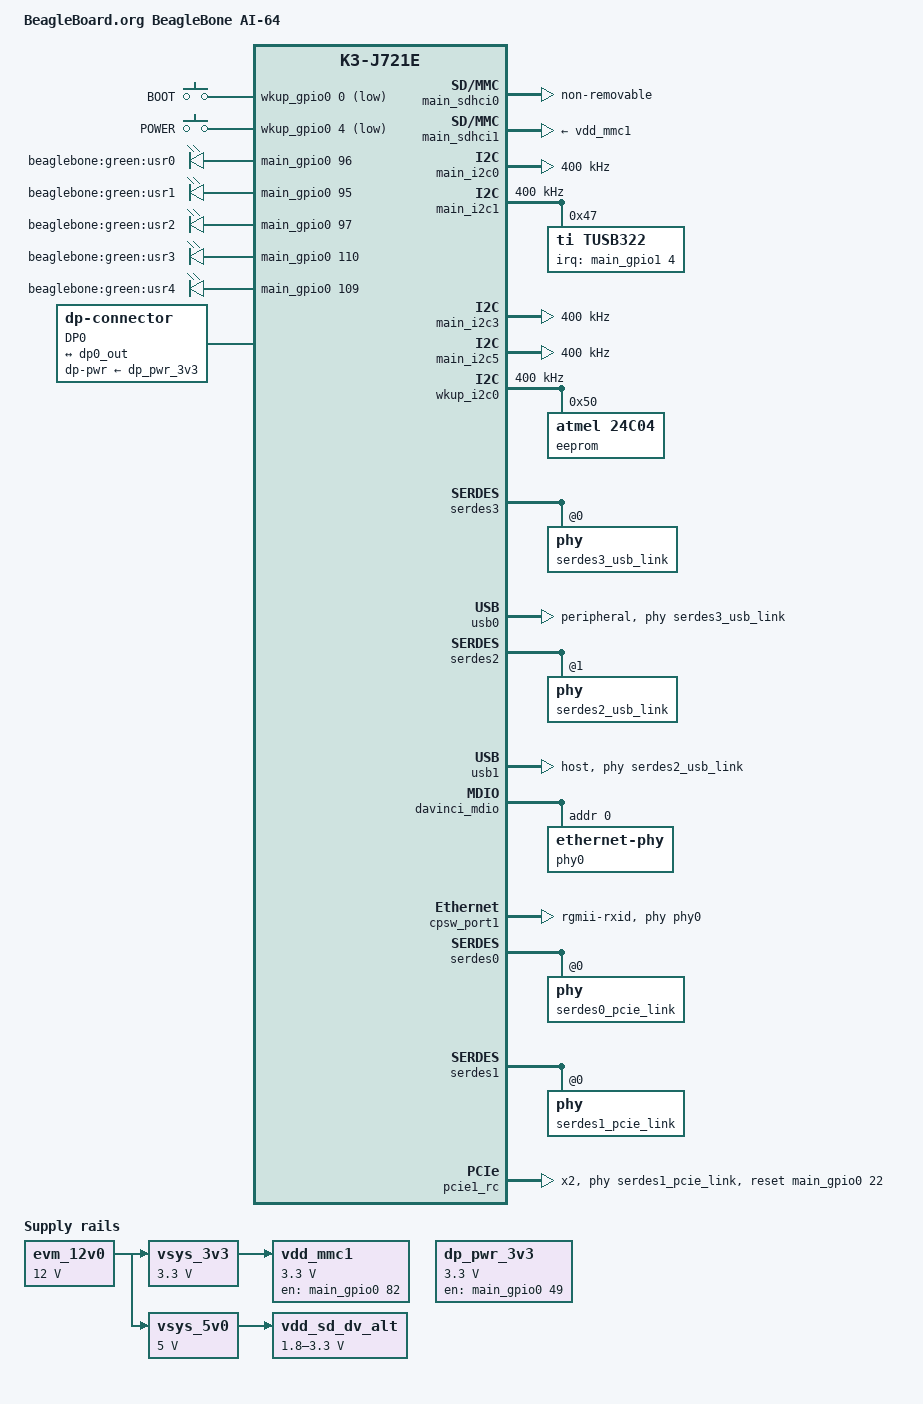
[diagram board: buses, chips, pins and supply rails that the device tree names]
// SPDX-License-Identifier: GPL-2.0
/*
 * https://beagleboard.org/ai-64
 * Copyright (C) 2022 Texas Instruments Incorporated - https://www.ti.com/
 * Copyright (C) 2022 Jason Kridner, BeagleBoard.org Foundation
 * Copyright (C) 2022 Robert Nelson, BeagleBoard.org Foundation
 */

/dts-v1/;

#include "k3-j721e-som-p0.dtsi"
#include "k3-j721e-rtos-memory-map.dtsi"
#include "k3-j721e-beagleboneai64-bone-buses.dtsi"
#include <dt-bindings/gpio/gpio.h>
#include <dt-bindings/input/input.h>
#include <dt-bindings/leds/common.h>
#include <dt-bindings/net/ti-dp83867.h>
#include <dt-bindings/board/k3-j721e-bone-pins.h>

/ {
	compatible = "beagle,j721e-beagleboneai64", "ti,j721e";
	model = "BeagleBoard.org BeagleBone AI-64";

	chosen {
		stdout-path = "serial2:115200n8";
		base_dtb = "k3-j721e-beagleboneai64.dts";
		base_dtb_timestamp = __TIMESTAMP__;
	};

	gpio_keys: gpio-keys {
		compatible = "gpio-keys";
		pinctrl-names = "default";
		pinctrl-0 = <&sw_pwr_pins_default>;

		button-1 {
			label = "BOOT";
			linux,code = <BTN_0>;
			gpios = <&wkup_gpio0 0 GPIO_ACTIVE_LOW>;
		};

		button-2 {
			label = "POWER";
			linux,code = <KEY_POWER>;
			gpios = <&wkup_gpio0 4 GPIO_ACTIVE_LOW>;
		};
	};

	leds {
		compatible = "gpio-leds";
		pinctrl-names = "default";
		pinctrl-0 = <&led_pins_default>;

		led-0 {
			label = "beaglebone:green:usr0";
			gpios = <&main_gpio0 96 GPIO_ACTIVE_HIGH>;
			linux,default-trigger = "heartbeat";
			function = LED_FUNCTION_HEARTBEAT;
		};

		led-1 {
			label = "beaglebone:green:usr1";
			gpios = <&main_gpio0 95 GPIO_ACTIVE_HIGH>;
			linux,default-trigger = "mmc0";
			function = LED_FUNCTION_DISK_ACTIVITY;
		};

		led-2 {
			label = "beaglebone:green:usr2";
			gpios = <&main_gpio0 97 GPIO_ACTIVE_HIGH>;
			linux,default-trigger = "cpu";
			function = LED_FUNCTION_CPU;
		};

		led-3 {
			label = "beaglebone:green:usr3";
			gpios = <&main_gpio0 110 GPIO_ACTIVE_HIGH>;
			linux,default-trigger = "mmc1";
			function = LED_FUNCTION_DISK_ACTIVITY;
		};

		led-4 {
			label = "beaglebone:green:usr4";
			gpios = <&main_gpio0 109 GPIO_ACTIVE_HIGH>;
			linux,default-trigger = "phy0tx";
			function = LED_FUNCTION_WLAN;
			default-state = "off";
		};
	};

	evm_12v0: regulator-0 {
		/* main supply */
		compatible = "regulator-fixed";
		regulator-name = "evm_12v0";
		regulator-min-microvolt = <12000000>;
		regulator-max-microvolt = <12000000>;
		regulator-always-on;
		regulator-boot-on;
	};

	vsys_3v3: regulator-1 {
		/* Output of LMS140 */
		compatible = "regulator-fixed";
		regulator-name = "vsys_3v3";
		regulator-min-microvolt = <3300000>;
		regulator-max-microvolt = <3300000>;
		vin-supply = <&evm_12v0>;
		regulator-always-on;
		regulator-boot-on;
	};

	vsys_5v0: regulator-2 {
		/* Output of LM5140 */
		compatible = "regulator-fixed";
		regulator-name = "vsys_5v0";
		regulator-min-microvolt = <5000000>;
		regulator-max-microvolt = <5000000>;
		vin-supply = <&evm_12v0>;
		regulator-always-on;
		regulator-boot-on;
	};

	vdd_mmc1: regulator-3 {
		compatible = "regulator-fixed";
		pinctrl-names = "default";
		pinctrl-0 = <&sd_pwr_en_pins_default>;
		regulator-name = "vdd_mmc1";
		regulator-min-microvolt = <3300000>;
		regulator-max-microvolt = <3300000>;
		regulator-boot-on;
		enable-active-high;
		vin-supply = <&vsys_3v3>;
		gpio = <&main_gpio0 82 GPIO_ACTIVE_HIGH>;
	};

	vdd_sd_dv_alt: regulator-4 {
		compatible = "regulator-gpio";
		pinctrl-names = "default";
		pinctrl-0 = <&vdd_sd_dv_alt_pins_default>;
		regulator-name = "tlv71033";
		regulator-min-microvolt = <1800000>;
		regulator-max-microvolt = <3300000>;
		regulator-boot-on;
		vin-supply = <&vsys_5v0>;
		gpios = <&main_gpio0 117 GPIO_ACTIVE_HIGH>;
		states = <1800000 0x0>,
			 <3300000 0x1>;
	};

	cpsw9g_virt_mac: main_r5fss_cpsw9g_virt_mac0 {
		compatible = "ti,j721e-cpsw-virt-mac";
		dma-coherent;
		ti,psil-base = <0x4a00>;
		ti,remote-name = "mpu_1_0_ethswitch-device-0";

		dmas = <&main_udmap 0xca00>,
		       <&main_udmap 0xca01>,
		       <&main_udmap 0xca02>,
		       <&main_udmap 0xca03>,
		       <&main_udmap 0xca04>,
		       <&main_udmap 0xca05>,
		       <&main_udmap 0xca06>,
		       <&main_udmap 0xca07>,
		       <&main_udmap 0x4a00>;
		dma-names = "tx0", "tx1", "tx2", "tx3",
			    "tx4", "tx5", "tx6", "tx7",
			    "rx";

		virt_emac_port {
			ti,label = "virt-port";
			/* local-mac-address = [0 0 0 0 0 0]; */
		};
	};

	transceiver1: can-phy@0 {
		status = "disabled";
	};

	transceiver2: can-phy@1 {
		status = "disabled";
	};

	dp_pwr_3v3: regulator-5 {
		compatible = "regulator-fixed";
		pinctrl-names = "default";
		pinctrl-0 = <&dp0_3v3_en_pins_default>;
		regulator-name = "dp-pwr";
		regulator-min-microvolt = <3300000>;
		regulator-max-microvolt = <3300000>;
		gpio = <&main_gpio0 49 GPIO_ACTIVE_HIGH>; /* DP0_PWR_SW_EN */
		enable-active-high;

		/* Always on for now, until dp-connector driver can handle this */
		regulator-always-on;
	};

	dp0: connector {
		compatible = "dp-connector";
		label = "DP0";
		type = "full-size";
		dp-pwr-supply = <&dp_pwr_3v3>;

		port {
			dp_connector_in: endpoint {
				remote-endpoint = <&dp0_out>;
			};
		};
	};
};

&main_pmx0 {
	led_pins_default: led-pins-default {
		pinctrl-single,pins = <
			J721E_IOPAD(0x184, PIN_INPUT, 7) /* (T23) RGMII5_RD0.GPIO0_96 */
			J721E_IOPAD(0x180, PIN_INPUT, 7) /* (R23) RGMII5_RD1.GPIO0_95 */
			J721E_IOPAD(0x188, PIN_INPUT, 7) /* (Y28) RGMII6_TX_CTL.GPIO0_97 */
			J721E_IOPAD(0x1bc, PIN_INPUT, 7) /* (V24) MDIO0_MDC.GPIO0_110 */
			J721E_IOPAD(0x1b8, PIN_INPUT, 7) /* (V26) MDIO0_MDIO.GPIO0_109 */
		>;
	};

	main_mmc1_pins_default: main-mmc1-pins-default {
		pinctrl-single,pins = <
			J721E_IOPAD(0x254, PIN_INPUT, 0) /* (R29) MMC1_CMD */
			J721E_IOPAD(0x250, PIN_INPUT, 0) /* (P25) MMC1_CLK */
			J721E_IOPAD(0x2ac, PIN_INPUT, 0) /* (P25) MMC1_CLKLB */
			J721E_IOPAD(0x24c, PIN_INPUT, 0) /* (R24) MMC1_DAT0 */
			J721E_IOPAD(0x248, PIN_INPUT, 0) /* (P24) MMC1_DAT1 */
			J721E_IOPAD(0x244, PIN_INPUT, 0) /* (R25) MMC1_DAT2 */
			J721E_IOPAD(0x240, PIN_INPUT, 0) /* (R26) MMC1_DAT3 */
			J721E_IOPAD(0x258, PIN_INPUT, 0) /* (P23) MMC1_SDCD */
		>;
	};

	main_uart0_pins_default: main-uart0-pins-default {
		pinctrl-single,pins = <
			J721E_IOPAD(0x1e8, PIN_INPUT, 0) /* (AB2) UART0_RXD */
			J721E_IOPAD(0x1ec, PIN_OUTPUT, 0) /* (AB3) UART0_TXD */
		>;
	};

	sd_pwr_en_pins_default: sd-pwr-en-pins-default {
		pinctrl-single,pins = <
			J721E_IOPAD(0x14c, PIN_INPUT, 7) /* (AA29) PRG0_PRU1_GPO19.GPIO0_82 */
		>;
	};

	vdd_sd_dv_alt_pins_default: vdd-sd-dv-alt-pins-default {
		pinctrl-single,pins = <
			J721E_IOPAD(0x1d8, PIN_INPUT, 7) /* (W4) SPI1_CS1.GPIO0_117 */
		>;
	};

	main_usbss0_pins_default: main-usbss0-pins-default {
		pinctrl-single,pins = <
			J721E_IOPAD(0x210, PIN_INPUT, 7) /* (W3) MCAN1_RX.GPIO1_3 - USBC_DIR */
		>;
	};

	tusb322_pins_default: tusb322-pins-default {
		pinctrl-single,pins = <
			J721E_IOPAD(0x214, PIN_INPUT, 7) /* (V4) MCAN1_TX.GPIO1_4 -- USBC_INT */
		>;
	};

	main_usbss1_pins_default: main-usbss1-pins-default {
		pinctrl-single,pins = <
			J721E_IOPAD(0x290, INPUT_DISABLE, 1) /* (U6) USB0_DRVVBUS.USB1_DRVVBUS */
		>;
	};

	dp0_3v3_en_pins_default:dp0-3v3-en-pins-default {
		pinctrl-single,pins = <
			J721E_IOPAD(0xc8, PIN_INPUT, 7) /* (AE26) PRG0_PRU0_GPO6.GPIO0_49 */
		>;
	};

	dp0_pins_default: dp0-pins-default {
		pinctrl-single,pins = <
			J721E_IOPAD(0x1c4, PIN_INPUT, 5) /* (Y4) SPI0_CS1.DP0_HPD */
		>;
	};

	main_i2c0_pins_default: main-i2c0-pins-default {
		pinctrl-single,pins = <
			J721E_IOPAD(0x220, PIN_INPUT_PULLUP, 0) /* (AC5) I2C0_SCL */
			J721E_IOPAD(0x224, PIN_INPUT_PULLUP, 0) /* (AA5) I2C0_SDA */
		>;
	};

	main_i2c1_pins_default: main-i2c1-pins-default {
		pinctrl-single,pins = <
			J721E_IOPAD(0x228, PIN_INPUT_PULLUP, 0) /* (Y6) I2C1_SCL */
			J721E_IOPAD(0x22c, PIN_INPUT_PULLUP, 0) /* (AA6) I2C1_SDA */
		>;
	};

	main_i2c3_pins_default: main-i2c3-pins-default {
		pinctrl-single,pins = <
			J721E_IOPAD(0x270, PIN_INPUT_PULLUP, 4) /* (T26) MMC2_CLK.I2C3_SCL */
			J721E_IOPAD(0x274, PIN_INPUT_PULLUP, 4) /* (T25) MMC2_CMD.I2C3_SDA */
		>;
	};

	main_i2c5_pins_default: main-i2c5-pins-default {
		pinctrl-single,pins = <
			J721E_IOPAD(0x150, PIN_INPUT_PULLUP, 2) /* (Y26) PRG0_MDIO0_MDIO.I2C5_SCL */
			J721E_IOPAD(0x154, PIN_INPUT_PULLUP, 2) /* (AA27) PRG0_MDIO0_MDC.I2C5_SDA */
		>;
	};

	pcie1_rst_pins_default: pcie1-rst-pins-default {
		pinctrl-single,pins = <
			J721E_IOPAD(0x5c, PIN_INPUT, 7) /* (AG23) PRG1_PRU1_GPO1.GPIO0_22 */
		>;
	};

	ehrpwm0_pins_default: ehrpwm0_pins_default {
		pinctrl-single,pins = <
			J721E_IOPAD(0x164, PIN_OUTPUT, 6) /* (V29) RGMII5_TD2.EHRPWM0_A */
			J721E_IOPAD(0x168, PIN_OUTPUT, 6) /* (V27) RGMII5_TD1.EHRPWM0_B */
		>;
	};

	ehrpwm1_pins_default: ehrpwm1_pins_default {
		pinctrl-single,pins = <
			J721E_IOPAD(0x16c, PIN_OUTPUT, 6) /* (U28) RGMII5_TD0.EHRPWM1_A */
			J721E_IOPAD(0x170, PIN_OUTPUT, 6) /* (U29) RGMII5_TXC.EHRPWM1_B */
		>;
	};

	ehrpwm2_pins_default: ehrpwm2_pins_default {
		pinctrl-single,pins = <
			J721E_IOPAD(0x178, PIN_OUTPUT, 6) /* (U27) RGMII5_RD3.EHRPWM2_A */
			J721E_IOPAD(0x17c, PIN_OUTPUT, 6) /* (U24) RGMII5_RD2.EHRPWM2_B */
		>;
	};

	ehrpwm3_pins_default: ehrpwm3_pins_default {
		pinctrl-single,pins = <
			J721E_IOPAD(0x18c, PIN_OUTPUT, 6) /* (V23) RGMII6_RX_CTL.EHRPWM3_A */
			J721E_IOPAD(0x190, PIN_OUTPUT, 6) /* (W23) RGMII6_TD3.EHRPWM3_B */
		>;
	};
};

&wkup_pmx0 {
	eeprom_wp_pins_default: eeprom-wp-pins-default {
		pinctrl-single,pins = <
			J721E_WKUP_IOPAD(0xc4, PIN_OUTPUT_PULLUP, 7) /* (G24) WKUP_GPIO0_5 */
		>;
	};

	mcu_adc0_pins_default: mcu-adc0-pins-default {
		pinctrl-single,pins = <
			J721E_WKUP_IOPAD(0x130, PIN_INPUT, 0) /* (K25) MCU_ADC0_AIN0 */
			J721E_WKUP_IOPAD(0x134, PIN_INPUT, 0) /* (K26) MCU_ADC0_AIN1 */
			J721E_WKUP_IOPAD(0x138, PIN_INPUT, 0) /* (K28) MCU_ADC0_AIN2 */
			J721E_WKUP_IOPAD(0x13c, PIN_INPUT, 0) /* (L28) MCU_ADC0_AIN3 */
			J721E_WKUP_IOPAD(0x140, PIN_INPUT, 0) /* (K24) MCU_ADC0_AIN4 */
			J721E_WKUP_IOPAD(0x144, PIN_INPUT, 0) /* (K27) MCU_ADC0_AIN5 */ /* TODO: disable? */
			J721E_WKUP_IOPAD(0x148, PIN_INPUT, 0) /* (K29) MCU_ADC0_AIN6 */
		>;
	};

	mcu_adc1_pins_default: mcu-adc1-pins-default {
		pinctrl-single,pins = <
			J721E_WKUP_IOPAD(0x150, PIN_INPUT, 0) /* (N23) MCU_ADC1_AIN0 */
		>;
	};

	mikro_bus_pins_default: mikro-bus-pins-default {
		pinctrl-single,pins = <
			J721E_WKUP_IOPAD(0x108, PIN_INPUT, 7) /* SDAPULLEN (E26) PMIC_POWER_EN0.WKUP_GPIO0_66 */
			J721E_WKUP_IOPAD(0xd4, PIN_INPUT, 7) /* SDA (G26) WKUP_GPIO0_9.MCU_I2C1_SDA */
			J721E_WKUP_IOPAD(0xf4, PIN_INPUT, 7) /* SDA (D25) MCU_I3C0_SDA.WKUP_GPIO0_61 */
			J721E_WKUP_IOPAD(0xd0, PIN_INPUT, 7) /* SCL (G27) WKUP_GPIO0_8.MCU_I2C1_SCL */
			J721E_WKUP_IOPAD(0xf0, PIN_INPUT, 7) /* SCL (D26) MCU_I3C0_SCL.WKUP_GPIO0_60 */

			J721E_WKUP_IOPAD(0xb8, PIN_INPUT, 7) /* MOSI (F28) WKUP_GPIO0_2.MCU_SPI1_D1 */
			J721E_WKUP_IOPAD(0xb4, PIN_INPUT, 7) /* MISO (F25) WKUP_GPIO0_1.MCU_SPI1_D0 */
			J721E_WKUP_IOPAD(0xb0, PIN_INPUT, 7) /* CLK (F26) WKUP_GPIO0_0.MCU_SPI1_CLK */
			J721E_WKUP_IOPAD(0xbc, PIN_INPUT, 7) /* CS (F27) WKUP_GPIO0_3.MCU_SPI1_CS0 */

			J721E_WKUP_IOPAD(0x44, PIN_INPUT, 7) /* RX (G22) MCU_OSPI1_D1.WKUP_GPIO0_33 */
			J721E_WKUP_IOPAD(0x48, PIN_INPUT, 7) /* TX (D23) MCU_OSPI1_D2.WKUP_GPIO0_34 */

			J721E_WKUP_IOPAD(0x4c, PIN_INPUT, 7) /* INT (C23) MCU_OSPI1_D3.WKUP_GPIO0_35 */
			J721E_WKUP_IOPAD(0x54, PIN_INPUT, 7) /* RST (E22) MCU_OSPI1_CSn1.WKUP_GPIO0_37 */
			J721E_WKUP_IOPAD(0xdc, PIN_INPUT, 7) /* PWM (H27) WKUP_GPIO0_11 */
			J721E_WKUP_IOPAD(0xac, PIN_INPUT, 7) /* AN (C29) MCU_MCAN0_RX.WKUP_GPIO0_59 */
		>;
	};

	mcu_cpsw_pins_default: mcu-cpsw-pins-default {
		pinctrl-single,pins = <
			J721E_WKUP_IOPAD(0x84, PIN_INPUT, 0) /* (B24) MCU_RGMII1_RD0 */
			J721E_WKUP_IOPAD(0x80, PIN_INPUT, 0) /* (A24) MCU_RGMII1_RD1 */
			J721E_WKUP_IOPAD(0x7c, PIN_INPUT, 0) /* (D24) MCU_RGMII1_RD2 */
			J721E_WKUP_IOPAD(0x78, PIN_INPUT, 0) /* (A25) MCU_RGMII1_RD3 */
			J721E_WKUP_IOPAD(0x74, PIN_INPUT, 0) /* (C24) MCU_RGMII1_RXC */
			J721E_WKUP_IOPAD(0x5c, PIN_INPUT, 0) /* (C25) MCU_RGMII1_RX_CTL */
			J721E_WKUP_IOPAD(0x6c, PIN_OUTPUT, 0) /* (B25) MCU_RGMII1_TD0 */
			J721E_WKUP_IOPAD(0x68, PIN_OUTPUT, 0) /* (A26) MCU_RGMII1_TD1 */
			J721E_WKUP_IOPAD(0x64, PIN_OUTPUT, 0) /* (A27) MCU_RGMII1_TD2 */
			J721E_WKUP_IOPAD(0x60, PIN_OUTPUT, 0) /* (A28) MCU_RGMII1_TD3 */
			J721E_WKUP_IOPAD(0x70, PIN_OUTPUT, 0) /* (B26) MCU_RGMII1_TXC */
			J721E_WKUP_IOPAD(0x58, PIN_OUTPUT, 0) /* (B27) MCU_RGMII1_TX_CTL */
		>;
	};

	mcu_mdio_pins_default: mcu-mdio1-pins-default {
		pinctrl-single,pins = <
			J721E_WKUP_IOPAD(0x8c, PIN_OUTPUT, 0) /* (F23) MCU_MDIO0_MDC */
			J721E_WKUP_IOPAD(0x88, PIN_INPUT, 0) /* (E23) MCU_MDIO0_MDIO */
		>;
	};

	sw_pwr_pins_default: sw-pwr-pins-default {
		pinctrl-single,pins = <
			J721E_WKUP_IOPAD(0xc0, PIN_INPUT, 7) /* (G25) WKUP_GPIO0_4 */
		>;
	};

	wkup_i2c0_pins_default: wkup-i2c0-pins-default {
		pinctrl-single,pins = <
			J721E_WKUP_IOPAD(0xf8, PIN_INPUT_PULLUP, 0) /* (J25) WKUP_I2C0_SCL */
			J721E_WKUP_IOPAD(0xfc, PIN_INPUT_PULLUP, 0) /* (H24) WKUP_I2C0_SDA */
		>;
	};

	mcu_usbss1_pins_default: mcu-usbss1-pins-default {
		pinctrl-single,pins = <
			J721E_WKUP_IOPAD(0x3c, PIN_OUTPUT_PULLUP, 5) /* (A23) MCU_OSPI1_LBCLKO.WKUP_GPIO0_30 */
		>;
	};
};

&wkup_uart0 {
	/* Wakeup UART is used by TIFS firmware. */
	status = "reserved";
};

&main_uart0 {
	pinctrl-names = "default";
	pinctrl-0 = <&main_uart0_pins_default>;
	/* Shared with ATF on this platform */
	power-domains = <&k3_pds 146 TI_SCI_PD_SHARED>;
};

&main_uart3 {
	/* UART not brought out */
	status = "disabled";
};

&main_uart6 {
	/* UART not brought out */
	status = "disabled";
};

&main_uart7 {
	/* UART not brought out */
	status = "disabled";
};

&main_uart8 {
	/* UART not brought out */
	status = "disabled";
};

&main_uart9 {
	/* UART not brought out */
	status = "disabled";
};

&main_sdhci0 {
	/* eMMC */
	non-removable;
	ti,driver-strength-ohm = <50>;
	disable-wp;
};

&main_sdhci1 {
	/* SD Card */
	vmmc-supply = <&vdd_mmc1>;
	vqmmc-supply = <&vdd_sd_dv_alt>;
	pinctrl-names = "default";
	pinctrl-0 = <&main_mmc1_pins_default>;
	ti,driver-strength-ohm = <50>;
	disable-wp;
};

&main_sdhci2 {
	/* Unused */
	status = "disabled";
};

&main_i2c0 {
	pinctrl-names = "default";
	pinctrl-0 = <&main_i2c0_pins_default>;
	clock-frequency = <400000>;
};

&main_i2c1 {
	pinctrl-names = "default";
	pinctrl-0 = <&main_i2c1_pins_default>;
	clock-frequency = <400000>;

	tusb322@47 {
		compatible = "ti,tusb322";
		reg = <0x47>;
		pinctrl-names = "default";
		pinctrl-0 = <&tusb322_pins_default>;
		interrupt-parent = <&main_gpio1>;
		interrupts = <4 IRQ_TYPE_EDGE_FALLING>;
		interrupt-controller;
		#interrupt-cells = <2>;
	};
};

&main_i2c3 {
	pinctrl-names = "default";
	pinctrl-0 = <&main_i2c3_pins_default>;
	clock-frequency = <400000>;
};

&main_i2c5 {
	pinctrl-names = "default";
	pinctrl-0 = <&main_i2c5_pins_default>;
	clock-frequency = <400000>;
};

bone_i2c_0: &wkup_i2c0 {
	pinctrl-names = "default";
	pinctrl-0 = <&wkup_i2c0_pins_default &eeprom_wp_pins_default>;
	clock-frequency = <400000>;

	eeprom@50 {
		compatible = "atmel,24c04";
		reg = <0x50>;
	};
};

&main_gpio0 {
	status = "okay";
	gpio-line-names =
		"NC",
		"P9_11",
		"P9_13",
		"P8_17",
		"P8_18", /* 0-4 */
		"P8_22",
		"P8_24",
		"P8_34",
		"P8_36",
		"P8_38A", /* 5-9 */
		"P9_23",
		"P8_37B",
		"P9_26B",
		"P9_24B",
		"P8_08", /* 10-14 */
		"P8_07",
		"P8_10",
		"P8_09",
		"P9_42B",
		"NC", /* 15-19 */
		"P8_03",
		"TYPEC_PWR_ST",
		"M2_RSTz",
		"M2_I2C_ALERT#",
		"P8_35A", /* 20-24 */
		"P8_33A",
		"P8_32A",
		"NC",
		"P9_17A",
		"NC", /* 25-29 */
		"P8_21",
		"P8_23",
		"P8_31A",
		"P8_05",
		"P8_06", /* 30-34 */
		"P8_25",
		"M2_W_DISABLE1#",
		"M2_W_DISABLE2#",
		"P9_22A (BOOTMODE1)",
		"P9_21A", /* 35-39 */
		"P9_18A",
		"DSI_I2C_SCL",
		"DSI_I2C_SDA",
		"P9_28B",
		"P9_30B", /* 40-44 */
		"P9_12",
		"P9_27A",
		"P9_15",
		"P8_04 (BOOTMODE2)",
		"VCC_DP_EN", /* 45-49 */
		"P9_33B",
		"P8_26",
		"P9_31B",
		"P9_29B",
		"P9_39B", /* 50-54 */
		"P9_35B",
		"P9_36B",
		"P9_37B",
		"P9_38B",
		"P8_12", /* 55-59 */
		"P8_11 (BOOTMODE7)",
		"P8_15",
		"P8_16",
		"NC",
		"NC", /* 60-64 */
		"P8_43",
		"P8_44",
		"P8_41",
		"P8_42 (BOOTMODE6)",
		"P8_39", /* 65-69 */
		"P8_40",
		"P8_27",
		"P8_28",
		"P8_29",
		"P8_30", /* 70-74 */
		"P8_14",
		"P8_20",
		"P9_20B",
		"P9_19B",
		"P8_45", /* 75-79 */
		"P8_46 (BOOTMODE3)",
		"P9_40B",
		"VDD_SD_EN",
		"CSI_I2C_SCL",
		"CSI_I2C_SDA", /* 80-84 */
		"M2_I2S_SCK",
		"M2_I2S_WS",
		"M2_I2S_IN",
		"P8_19",
		"P8_13", /* 85-89 */
		"P9_21B",
		"P9_22B",
		"M2_I2S_OUT",
		"P9_14",
		"P9_16", /* 90-94 */
		"USR1",
		"USR0",
		"USR2",
		"DSI_GPIO1",
		"FAN_PWM", /* 95-99 */
		"FAN_TACH",
		"CSI1_GPIO1",
		"CSI0_GPIO2",
		"CSI0_GPIO1",
		"P9_25B", /* 100-104 */
		"P8_38B",
		"P8_37A",
		"CSI1_GPIO2",
		"DSI_GPIO2",
		"USR4", /* 105-109 */
		"USR3",
		"P8_33B",
		"DP_HPD",
		"M2_UART_CTSn",
		"M2_UART_RTSn", /* 110-114 */
		"P9_17B",
		"P8_35B",
		"VDD_SD_SEL",
		"P9_26A",
		"P9_24A", /* 115-119 */
		"P9_18B",
		"CONSOLE_RX",
		"CONSOLE_TX",
		"P9_42A",
		"P9_27B", /* 120-124 */
		"M2_UART_RX",
		"M2_UART_TX",
		"P9_25A"; /* 125-127 */
};

&main_gpio1 {
	status = "okay";
	gpio-line-names =
		"P9_41",
		"P9_19A",
		"P9_20A",
		"TYPEC_DIR",
		"TYPEC_INT", /* 0-4 */
		"M2_PCIE_WAKE#",
		"M2_PCIE_CLKREQ#",
		"M2_I2C_SCL",
		"M2_I2C_SDA",
		"TYPEC/CSI1_I2C_SCL", /* 5-9 */
		"TYPEC/CSI1_I2C_SDA",
		"P9_28A",
		"P9_31A",
		"P9_30A",
		"P9_29A", /* 10-14 */
		"uSD_DAT3",
		"uSD_DAT2",
		"uSD_DAT1",
		"uSD_DAT0",
		"uSD_CLK", /* 15-19 */
		"uSD_CMD",
		"uSD_SDCD",
		"NC",
		"M2_SDIO_DAT3",
		"M2_SDIO_DAT2", /* 20-24 */
		"M2_SDIO_DAT1",
		"M2_SDIO_DAT0",
		"M2_SDIO_CLK",
		"M2_SDIO_CMD",
		"USB1_DRVVBUS", /* 25-29 */
		"NC",
		"NC",
		"NC",
		"NC",
		"NC", /* 30-34 */
		"NC",
		"NC"; /* 35-36 */
};

&main_gpio2 {
	status = "disabled";
};

&main_gpio3 {
	status = "disabled";
};

&main_gpio4 {
	status = "disabled";
};

&main_gpio5 {
	status = "disabled";
};

&main_gpio6 {
	status = "disabled";
};

&main_gpio7 {
	status = "disabled";
};

&wkup_gpio0 {
	pinctrl-names = "default";
	pinctrl-0 = <&mcu_adc0_pins_default &mcu_adc1_pins_default &mikro_bus_pins_default>;
	gpio-line-names =
		"MB_CLK/BOOT_BTN",
		"MB_MISO",
		"MB_MOSI",
		"MB_CS",
		"SOC_WAKE", /* 0-4 */
		"EEPROM_WP",
		"SOC_INT2z",
		"H_MCU_INT#",
		"MB_SCLA",
		"MB_SDAA", /* 5-9 */
		"MCU_RGMII_RST#",
		"MB_PWM",
		"MCU_BOOTMODE8",
		"MCU_BOOTMODE9",
		"MCU_BOOTMODE6", /* 10-14 */
		"MCU_BOOTMODE7",
		"NC",
		"NC",
		"NC",
		"NC", /* 15-19 */
		"NC",
		"NC",
		"NC",
		"NC",
		"NC", /* 20-24 */
		"NC",
		"NC",
		"NC",
		"NC",
		"NC", /* 24-29 */
		"USB_HUB_RST",
		"NC",
		"NC",
		"MB_RX",
		"MB_TX", /* 30-34 */
		"MB_INT",
		"NC",
		"MB_RST",
		"MII_TX_CTL",
		"MII_RX_CTL", /* 35-39 */
		"MII_TD3",
		"MII_TD2",
		"MII_TD1",
		"MII_TD0",
		"MII_TXC", /* 40-44 */
		"MII_RXC",
		"MII_RD3",
		"MII_RD2",
		"MII_RD1",
		"MII_RD0", /* 45-49 */
		"MDIO",
		"MDC",
		"MCU_BOOTMODE0",
		"MCU_BOOTMODE1",
		"MCU_BOOTMODE2", /* 50-54 */
		"SYS_MCU_PWRDN",
		"WKUP_UART_RX",
		"WKUP_UART_TX",
		"MII_RST#",
		"MB_AN", /* 55-59 */
		"MB_SCLB",
		"MB_SDAB",
		"WKUP_I2C0_SCL",
		"WKUP_I2C0_SDA",
		"MCU_I2C0_SCL", /* 60-64 */
		"MCU_I2C0_SDA",
		"MB_SDAPULLEN",
		"PMIC_POWER_EN1"; /* 65-67 */
};

&wkup_gpio1 {
	status = "disabled";
};

&usb_serdes_mux {
	idle-states = <1>, <1>; /* USB0 to SERDES3, USB1 to SERDES2 */
};

&serdes_ln_ctrl {
	idle-states = <J721E_SERDES0_LANE0_IP4_UNUSED>, <J721E_SERDES0_LANE1_IP4_UNUSED>, /* TODO: is this right? */
		      <J721E_SERDES1_LANE0_PCIE1_LANE0>, <J721E_SERDES1_LANE1_PCIE1_LANE1>,
		      <J721E_SERDES2_LANE0_IP1_UNUSED>, <J721E_SERDES2_LANE1_USB3_1>, /* TODO: USB3_0 or USB3_1? */
		      <J721E_SERDES3_LANE0_USB3_0_SWAP>, <J721E_SERDES3_LANE1_USB3_0>,
		      <J721E_SERDES4_LANE0_EDP_LANE0>, <J721E_SERDES4_LANE1_EDP_LANE1>,
		      <J721E_SERDES4_LANE2_EDP_LANE2>, <J721E_SERDES4_LANE3_EDP_LANE3>;
};

&serdes_wiz3 {
	typec-dir-gpios = <&main_gpio1 3 GPIO_ACTIVE_LOW>;
	typec-dir-debounce-ms = <700>;	/* TUSB321, tCCB_DEFAULT 133 ms */
};

&serdes3 {
	serdes3_usb_link: phy@0 {
		reg = <0>;
		cdns,num-lanes = <2>;
		#phy-cells = <0>;
		cdns,phy-type = <PHY_TYPE_USB3>;
		resets = <&serdes_wiz3 1>, <&serdes_wiz3 2>;
	};
};

&mhdp {
	pinctrl-names = "default";
	pinctrl-0 = <&dp0_pins_default>;
};

&usbss0 {
	pinctrl-names = "default";
	pinctrl-0 = <&main_usbss0_pins_default>;
	ti,vbus-divider;
};

&usb0 {
	dr_mode = "peripheral";
	maximum-speed = "super-speed";
	phys = <&serdes3_usb_link>;
	phy-names = "cdns3,usb3-phy";
};

&serdes2 {
	serdes2_usb_link: phy@1 {
		reg = <1>;
		cdns,num-lanes = <1>;
		#phy-cells = <0>;
		cdns,phy-type = <PHY_TYPE_USB3>;
		resets = <&serdes_wiz2 2>;
	};
};

&usbss1 {
	pinctrl-names = "default";
	pinctrl-0 = <&main_usbss1_pins_default &mcu_usbss1_pins_default>;
	ti,vbus-divider;
};

&usb1 {
	dr_mode = "host";
	maximum-speed = "super-speed";
	phys = <&serdes2_usb_link>;
	phy-names = "cdns3,usb3-phy";
};

&tscadc0 {
	/* BBB Header: P9.39, P9.40, P9.37, P9.38, P9.33, P9.36, P9.35 */
	adc {
		ti,adc-channels = <0 1 2 3 4 5 6 7>;
	};
};

&tscadc1 {
	/* MCU mikroBUS Header J10.1 - MCU_ADC1_AIN0 */
	adc {
		ti,adc-channels = <0 1 2 3 4 5 6 7>;
	};
};

&mcu_cpsw {
	pinctrl-names = "default";
	pinctrl-0 = <&mcu_cpsw_pins_default>;
};

&davinci_mdio {
	pinctrl-names = "default";
	pinctrl-0 = <&mcu_mdio_pins_default>;

	phy0: ethernet-phy@0 {
		reg = <0>;
		ti,rx-internal-delay = <DP83867_RGMIIDCTL_2_00_NS>;
		ti,fifo-depth = <DP83867_PHYCR_FIFO_DEPTH_4_B_NIB>;
	};
};

&cpsw_port1 {
	phy-mode = "rgmii-rxid";
	phy-handle = <&phy0>;
};

&dss {
	/*
	 * These clock assignments are chosen to enable the following outputs:
	 *
	 * VP0 - DisplayPort SST
	 * VP1 - DPI0
	 * VP2 - DSI
	 * VP3 - DPI1
	 */

	assigned-clocks = <&k3_clks 152 1>,
			  <&k3_clks 152 4>,
			  <&k3_clks 152 9>,
			  <&k3_clks 152 13>;
	assigned-clock-parents = <&k3_clks 152 2>,	/* PLL16_HSDIV0 */
				 <&k3_clks 152 6>,	/* PLL19_HSDIV0 */
				 <&k3_clks 152 11>,	/* PLL18_HSDIV0 */
				 <&k3_clks 152 18>;	/* PLL23_HSDIV0 */
};

&dss_ports {
	port@0 {
		reg = <0>;

		dpi0_out: endpoint {
			remote-endpoint = <&dp0_in>;
		};
	};
};

&dp0_ports {
	#address-cells = <1>;
	#size-cells = <0>;

	port@0 {
		reg = <0>;
		dp0_in: endpoint {
			remote-endpoint = <&dpi0_out>;
		};
	};

	port@4 {
		reg = <4>;
		dp0_out: endpoint {
			remote-endpoint = <&dp_connector_in>;
		};
	};
};

&mcasp0 {
	/* Unused */
	status = "disabled";
};

&mcasp1 {
	/* Unused */
	status = "disabled";
};

&mcasp2 {
	/* Unused */
	status = "disabled";
};

&mcasp3 {
	/* Unused */
	status = "disabled";
};

&mcasp4 {
	/* Unused */
	status = "disabled";
};

&mcasp5 {
	/* Unused */
	status = "disabled";
};

&mcasp6 {
	/* Unused */
	status = "disabled";
};

&mcasp7 {
	/* Unused */
	status = "disabled";
};

&mcasp8 {
	/* Unused */
	status = "disabled";
};

&mcasp9 {
	/* Unused */
	status = "disabled";
};

&mcasp10 {
	/* Unused */
	status = "disabled";
};

&mcasp11 {
	/* Unused */
	status = "disabled";
};

&serdes0 {
	serdes0_pcie_link: phy@0 {
		reg = <0>;
		cdns,num-lanes = <1>;
		#phy-cells = <0>;
		cdns,phy-type = <PHY_TYPE_PCIE>;
		resets = <&serdes_wiz0 1>;
	};
};

&serdes1 {
	serdes1_pcie_link: phy@0 {
		reg = <0>;
		cdns,num-lanes = <2>;
		#phy-cells = <0>;
		cdns,phy-type = <PHY_TYPE_PCIE>;
		resets = <&serdes_wiz1 1>, <&serdes_wiz1 2>;
	};
};

&pcie0_rc {
	/* Unused */
	status = "disabled";
};

&pcie1_rc {
	pinctrl-names = "default";
	pinctrl-0 = <&pcie1_rst_pins_default>;
	phys = <&serdes1_pcie_link>;
	phy-names = "pcie-phy";
	num-lanes = <2>;
	max-link-speed = <3>;
	reset-gpios = <&main_gpio0 22 GPIO_ACTIVE_HIGH>;
};

&pcie2_rc {
	/* Unused */
	status = "disabled";
};

&pcie0_ep {
	status = "disabled";
	phys = <&serdes0_pcie_link>;
	phy-names = "pcie-phy";
	num-lanes = <1>;
};

&pcie1_ep {
	status = "disabled";
	phys = <&serdes1_pcie_link>;
	phy-names = "pcie-phy";
	num-lanes = <2>;
};

&pcie2_ep {
	/* Unused */
	status = "disabled";
};

&pcie3_rc {
	/* Unused */
	status = "disabled";
};

&pcie3_ep {
	/* Unused */
	status = "disabled";
};

&mcu_mcan0 {
	status = "disabled";
};

&mcu_mcan1 {
	status = "disabled";
};

&main_mcan0 {
	status = "disabled";
};

&main_mcan1 {
	status = "disabled";
};

&main_mcan2 {
	status = "disabled";
};

&main_mcan3 {
	status = "disabled";
};

&main_mcan4 {
	status = "disabled";
};

&main_mcan5 {
	status = "disabled";
};

&main_mcan6 {
	status = "disabled";
};

&main_mcan7 {
	status = "disabled";
};

&main_mcan8 {
	status = "disabled";
};

&main_mcan9 {
	status = "disabled";
};

&main_mcan10 {
	status = "disabled";
};

&main_mcan11 {
	status = "disabled";
};

&main_mcan12 {
	status = "disabled";
};

&main_mcan13 {
	status = "disabled";
};

&ufs_wrapper {
	status = "disabled";
};

&csi0_port0 {
	status = "disabled";
};

&csi0_port1 {
	status = "disabled";
};

&csi0_port2 {
	status = "disabled";
};

&csi0_port3 {
	status = "disabled";
};

&csi0_port4 {
	status = "disabled";
};

&csi1_port0 {
	status = "disabled";
};

&csi1_port1 {
	status = "disabled";
};

&csi1_port2 {
	status = "disabled";
};

&csi1_port3 {
	status = "disabled";
};

&csi1_port4 {
	status = "disabled";
};
